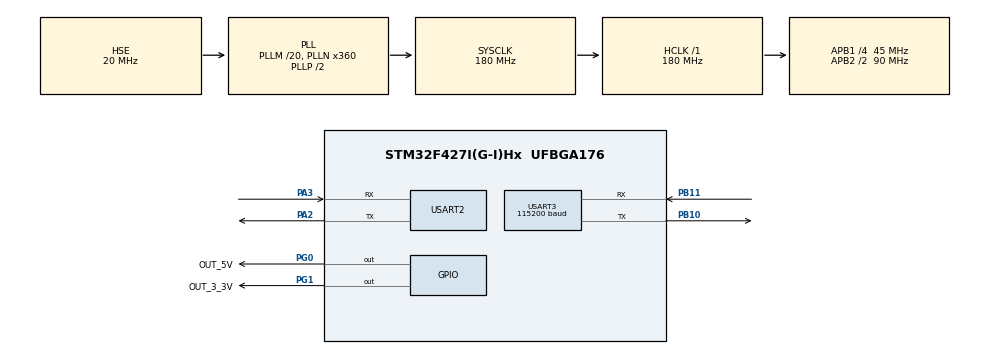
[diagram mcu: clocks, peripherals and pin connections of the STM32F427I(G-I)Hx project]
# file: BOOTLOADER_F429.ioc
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Mcu.Family=STM32F4
Mcu.Name=STM32F427I(G-I)Hx
Mcu.Package=UFBGA176
NVIC.PriorityGroup=NVIC_PRIORITYGROUP_4
PA2.Mode=Asynchronous
PA2.Signal=USART2_TX
PA3.Mode=Asynchronous
PA3.Signal=USART2_RX
PB10.Mode=Asynchronous
PB10.Signal=USART3_TX
PB11.Mode=Asynchronous
PB11.Signal=USART3_RX
PG0.GPIO_Label=OUT_5V
PG0.GPIO_PuPd=GPIO_PULLDOWN
PG0.Signal=GPIO_Output
PG1.GPIO_Label=OUT_3_3V
PG1.GPIO_PuPd=GPIO_PULLDOWN
PG1.Signal=GPIO_Output
PH0/OSC_IN.Mode=HSE-External-Oscillator
PH0/OSC_IN.Signal=RCC_OSC_IN
PH1/OSC_OUT.Mode=HSE-External-Oscillator
PH1/OSC_OUT.Signal=RCC_OSC_OUT
ProjectManager.HeapSize=0x200
ProjectManager.StackSize=0x400
ProjectManager.TargetToolchain=MDK-ARM V5
RCC.48MHZClocksFreq_Value=90000000
RCC.AHBFreq_Value=180000000
RCC.APB1CLKDivider=RCC_HCLK_DIV4
RCC.APB1Freq_Value=45000000
RCC.APB1TimFreq_Value=90000000
RCC.APB2CLKDivider=RCC_HCLK_DIV2
RCC.APB2Freq_Value=90000000
RCC.APB2TimFreq_Value=180000000
RCC.CortexFreq_Value=180000000
RCC.HCLKFreq_Value=180000000
RCC.HSE_VALUE=20000000
RCC.HSI_VALUE=16000000
RCC.LSE_VALUE=32768
RCC.PLLM=20
RCC.PLLN=360
RCC.PLLSourceVirtual=RCC_PLLSOURCE_HSE
RCC.SYSCLKFreq_VALUE=180000000
RCC.SYSCLKSource=RCC_SYSCLKSOURCE_PLLCLK
RCC.VCOOutputFreq_Value=360000000
USART2.VirtualMode=VM_ASYNC
USART3.BaudRate=115200
USART3.VirtualMode=VM_ASYNC
board=custom

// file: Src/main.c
/* USER CODE BEGIN Header */
/**
  ******************************************************************************
  * @file           : main.c
  * @brief          : Main program body
  ******************************************************************************
  * @attention
  *
  * <h2><center>&copy; Copyright (c) 2020 STMicroelectronics.
  * All rights reserved.</center></h2>
  *
  * This software component is licensed by ST under BSD 3-Clause license,
  * the "License"; You may not use this file except in compliance with the
  * License. You may obtain a copy of the License at:
  *                        opensource.org/licenses/BSD-3-Clause
  *
  ******************************************************************************
  */
/* USER CODE END Header */

#include "main.h"
#include "usart.h"
#include "gpio.h"

/* USER CODE BEGIN Includes */
#include "menu.h"
#include "common.h"
/* USER CODE END Includes */

void SystemClock_Config(void);

int main(void)
{
  /* USER CODE BEGIN 1 */
  uint32_t i = 3;
  uint8_t key;
  ConfigState config_data;

  /* USER CODE END 1 */

  /* MCU Configuration--------------------------------------------------------*/

  /* Reset of all peripherals, Initializes the Flash interface and the Systick. */
  HAL_Init();

  /* Configure the system clock */
  SystemClock_Config();

  /* Initialize all configured peripherals */
  MX_GPIO_Init();
  MX_USART2_UART_Init();
  MX_USART3_UART_Init();
  /* USER CODE BEGIN 2 */
  CLEAR_BIT(huart3.Instance->SR, USART_SR_RXNE);
  __HAL_UART_FLUSH_DRREGISTER(&huart3);
  Serial_PutString((uint8_t *)"\r\nPress any key to enter command line ");
  while (i--) {
    Serial_PutString((uint8_t *)".");
    /* Receive key */
    if (HAL_UART_Receive(&huart3, &key, 1, 1000) != HAL_TIMEOUT) {
      Serial_PutString((uint8_t *)"\r\n");
      Main_Menu();
    }
  }
  Serial_PutString((uint8_t *)"\r\n");
  get_config_date(&config_data);
  if (config_data.magic != CONFIG_MAGIC) {
    Serial_PutString((uint8_t *)"Need Default Application\r\n");
    Main_Menu();
  } else {
    Serial_PutString((uint8_t *)"Booting from Application ");
    switch (config_data.default_run) {
      case APPLICATION_1_ADDRESS:
        Serial_PutString((uint8_t *)"1\r\n");
        break;
      case APPLICATION_2_ADDRESS:
        Serial_PutString((uint8_t *)"2\r\n");
        break;
      case APPLICATION_3_ADDRESS:
        Serial_PutString((uint8_t *)"3\r\n");
        break;
      case APPLICATION_4_ADDRESS:
        Serial_PutString((uint8_t *)"4\r\n");
        break;
    }
    JumpToAddr(config_data.default_run);
  }

  /* USER CODE END 2 */

  /* Infinite loop */
  while (1)
  {

  }
}

void SystemClock_Config(void)
{
  RCC_OscInitTypeDef RCC_OscInitStruct = {0};
  RCC_ClkInitTypeDef RCC_ClkInitStruct = {0};

  /** Configure the main internal regulator output voltage
  */
  __HAL_RCC_PWR_CLK_ENABLE();
  __HAL_PWR_VOLTAGESCALING_CONFIG(PWR_REGULATOR_VOLTAGE_SCALE1);
  /** Initializes the CPU, AHB and APB busses clocks
  */
  RCC_OscInitStruct.OscillatorType = RCC_OSCILLATORTYPE_HSE;
  RCC_OscInitStruct.HSEState = RCC_HSE_ON;
  RCC_OscInitStruct.PLL.PLLState = RCC_PLL_ON;
  RCC_OscInitStruct.PLL.PLLSource = RCC_PLLSOURCE_HSE;
  RCC_OscInitStruct.PLL.PLLM = 20;
  RCC_OscInitStruct.PLL.PLLN = 360;
  RCC_OscInitStruct.PLL.PLLP = RCC_PLLP_DIV2;
  RCC_OscInitStruct.PLL.PLLQ = 4;
  if (HAL_RCC_OscConfig(&RCC_OscInitStruct) != HAL_OK)
  {
    Error_Handler();
  }
  /** Activate the Over-Drive mode
  */
  if (HAL_PWREx_EnableOverDrive() != HAL_OK)
  {
    Error_Handler();
  }
  /** Initializes the CPU, AHB and APB busses clocks
  */
  RCC_ClkInitStruct.ClockType = RCC_CLOCKTYPE_HCLK|RCC_CLOCKTYPE_SYSCLK
                              |RCC_CLOCKTYPE_PCLK1|RCC_CLOCKTYPE_PCLK2;
  RCC_ClkInitStruct.SYSCLKSource = RCC_SYSCLKSOURCE_PLLCLK;
  RCC_ClkInitStruct.AHBCLKDivider = RCC_SYSCLK_DIV1;
  RCC_ClkInitStruct.APB1CLKDivider = RCC_HCLK_DIV4;
  RCC_ClkInitStruct.APB2CLKDivider = RCC_HCLK_DIV2;

  if (HAL_RCC_ClockConfig(&RCC_ClkInitStruct, FLASH_LATENCY_5) != HAL_OK)
  {
    Error_Handler();
  }
}

void Error_Handler(void)
{
}

/************************ (C) COPYRIGHT STMicroelectronics *****END OF FILE****/
